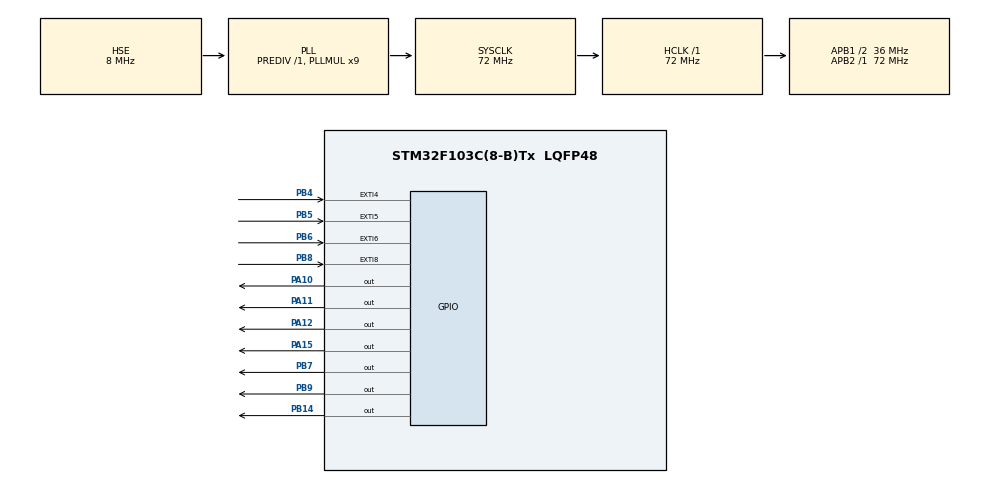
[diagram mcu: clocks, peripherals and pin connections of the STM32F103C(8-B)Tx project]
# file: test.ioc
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Mcu.Family=STM32F1
Mcu.Name=STM32F103C(8-B)Tx
Mcu.Package=LQFP48
NVIC.EXTI4_IRQn=true\:0\:0\:false\:false\:true\:true\:true\:true
NVIC.EXTI9_5_IRQn=true\:0\:0\:false\:false\:true\:true\:true\:true
NVIC.PriorityGroup=NVIC_PRIORITYGROUP_4
NVIC.TIM2_IRQn=true\:0\:0\:false\:false\:true\:true\:true\:true
NVIC.TIM3_IRQn=true\:0\:0\:false\:false\:true\:true\:true\:true
PA10.Signal=GPIO_Output
PA11.Signal=GPIO_Output
PA12.Signal=GPIO_Output
PA13.Mode=Serial_Wire
PA13.Signal=SYS_JTMS-SWDIO
PA14.Mode=Serial_Wire
PA14.Signal=SYS_JTCK-SWCLK
PA15.Signal=GPIO_Output
PB14.Signal=GPIO_Output
PB4.GPIO_PuPd=GPIO_PULLUP
PB4.Signal=GPXTI4
PB5.GPIO_PuPd=GPIO_PULLUP
PB5.Signal=GPXTI5
PB6.GPIO_PuPd=GPIO_PULLUP
PB6.Signal=GPXTI6
PB7.Signal=GPIO_Output
PB8.Signal=GPXTI8
PB9.Signal=GPIO_Output
PD0-OSC_IN.Mode=HSE-External-Oscillator
PD0-OSC_IN.Signal=RCC_OSC_IN
PD1-OSC_OUT.Mode=HSE-External-Oscillator
PD1-OSC_OUT.Signal=RCC_OSC_OUT
ProjectManager.HeapSize=0x200
ProjectManager.StackSize=0x400
ProjectManager.TargetToolchain=STM32CubeIDE
RCC.ADCPresc=RCC_ADCPCLK2_DIV6
RCC.AHBFreq_Value=72000000
RCC.APB1CLKDivider=RCC_HCLK_DIV2
RCC.APB1Freq_Value=36000000
RCC.APB1TimFreq_Value=72000000
RCC.APB2Freq_Value=72000000
RCC.APB2TimFreq_Value=72000000
RCC.HCLKFreq_Value=72000000
RCC.PLLMUL=RCC_PLL_MUL9
RCC.PLLSourceVirtual=RCC_PLLSOURCE_HSE
RCC.SYSCLKFreq_VALUE=72000000
RCC.SYSCLKSource=RCC_SYSCLKSOURCE_PLLCLK
RCC.USBFreq_Value=72000000
TIM1.AutoReloadPreload=TIM_AUTORELOAD_PRELOAD_ENABLE
TIM1.Prescaler=71
TIM2.Period=10000
TIM2.Prescaler=35999
TIM3.Period=10000
TIM3.Prescaler=7199
VP_TIM1_VS_ClockSourceINT.Mode=Internal
VP_TIM2_VS_ClockSourceINT.Mode=Internal
VP_TIM3_VS_ClockSourceINT.Mode=Internal
board=custom

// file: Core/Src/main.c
/* USER CODE BEGIN Header */
/**
  ******************************************************************************
  * @file           : main.c
  * @brief          : Main program body
  ******************************************************************************
  * @attention
  *
  * Copyright (c) 2025 STMicroelectronics.
  * All rights reserved.
  *
  * This software is licensed under terms that can be found in the LICENSE file
  * in the root directory of this software component.
  * If no LICENSE file comes with this software, it is provided AS-IS.
  *
  ******************************************************************************
  */
/* USER CODE END Header */
#include "main.h"

/* USER CODE BEGIN Includes */
#include "math.h"
#include <stdio.h>
/* USER CODE END Includes */

TIM_HandleTypeDef htim1;
TIM_HandleTypeDef htim2;
TIM_HandleTypeDef htim3;

void SystemClock_Config(void);
static void MX_GPIO_Init(void);
static void MX_TIM2_Init(void);
static void MX_TIM1_Init(void);
static void MX_TIM3_Init(void);

/* USER CODE BEGIN 0 */
volatile uint16_t seconds = 0;
volatile float T = 0.0f;
volatile float H = 0.0f;
uint32_t last_press;
uint32_t last = 0;

volatile uint8_t update_flag = 1;

/* USER CODE END 0 */

int main(void)
{

  /* MCU Configuration--------------------------------------------------------*/

  /* Reset of all peripherals, Initializes the Flash interface and the Systick. */
  HAL_Init();

  /* Configure the system clock */
  SystemClock_Config();

  /* Initialize all configured peripherals */
  MX_GPIO_Init();
  MX_TIM2_Init();
  MX_TIM1_Init();
  MX_TIM3_Init();
  /* USER CODE BEGIN 2 */

  HAL_NVIC_SetPriority(TIM3_IRQn, 0, 0);
  HAL_NVIC_EnableIRQ(TIM3_IRQn);
  HAL_TIM_Base_Start_IT(&htim3);

  LCD_init();
  LCD_Command(0x80);
  LCD_SendSTR("Temperature:");
  LCD_Command(0xC0);
  LCD_SendSTR("Humidity:");

  HAL_TIM_Base_Start(&htim1);
  DHT11_Read(&T, &H);
  HAL_TIM_Base_Stop(&htim1);
  Work(T, H);

  /* USER CODE END 2 */

  /* Infinite loop */
  /* USER CODE BEGIN WHILE */
  while (1)
  {
	  if (update_flag) {
		  update_flag = 0;
		  HAL_TIM_Base_Start(&htim1);
	      DHT11_Read(&T, &H);
	      HAL_TIM_Base_Stop(&htim1);
	      Work(T, H);
	  }

	  __enable_irq();
	  __WFI(); // Переход в сон, пока не сработает прерывание

    /* USER CODE END WHILE */

  }
}

void SystemClock_Config(void)
{
  RCC_OscInitTypeDef RCC_OscInitStruct = {0};
  RCC_ClkInitTypeDef RCC_ClkInitStruct = {0};

  /** Initializes the RCC Oscillators according to the specified parameters
  * in the RCC_OscInitTypeDef structure.
  */
  RCC_OscInitStruct.OscillatorType = RCC_OSCILLATORTYPE_HSE;
  RCC_OscInitStruct.HSEState = RCC_HSE_ON;
  RCC_OscInitStruct.HSEPredivValue = RCC_HSE_PREDIV_DIV1;
  RCC_OscInitStruct.HSIState = RCC_HSI_ON;
  RCC_OscInitStruct.PLL.PLLState = RCC_PLL_ON;
  RCC_OscInitStruct.PLL.PLLSource = RCC_PLLSOURCE_HSE;
  RCC_OscInitStruct.PLL.PLLMUL = RCC_PLL_MUL9;
  if (HAL_RCC_OscConfig(&RCC_OscInitStruct) != HAL_OK)
  {
    Error_Handler();
  }

  /** Initializes the CPU, AHB and APB buses clocks
  */
  RCC_ClkInitStruct.ClockType = RCC_CLOCKTYPE_HCLK|RCC_CLOCKTYPE_SYSCLK
                              |RCC_CLOCKTYPE_PCLK1|RCC_CLOCKTYPE_PCLK2;
  RCC_ClkInitStruct.SYSCLKSource = RCC_SYSCLKSOURCE_PLLCLK;
  RCC_ClkInitStruct.AHBCLKDivider = RCC_SYSCLK_DIV1;
  RCC_ClkInitStruct.APB1CLKDivider = RCC_HCLK_DIV2;
  RCC_ClkInitStruct.APB2CLKDivider = RCC_HCLK_DIV1;

  if (HAL_RCC_ClockConfig(&RCC_ClkInitStruct, FLASH_LATENCY_2) != HAL_OK)
  {
    Error_Handler();
  }
}

static void MX_TIM1_Init(void)
{

  TIM_ClockConfigTypeDef sClockSourceConfig = {0};
  TIM_MasterConfigTypeDef sMasterConfig = {0};

  htim1.Instance = TIM1;
  htim1.Init.Prescaler = 71;
  htim1.Init.CounterMode = TIM_COUNTERMODE_UP;
  htim1.Init.Period = 65535;
  htim1.Init.ClockDivision = TIM_CLOCKDIVISION_DIV1;
  htim1.Init.RepetitionCounter = 0;
  htim1.Init.AutoReloadPreload = TIM_AUTORELOAD_PRELOAD_ENABLE;
  if (HAL_TIM_Base_Init(&htim1) != HAL_OK)
  {
    Error_Handler();
  }
  sClockSourceConfig.ClockSource = TIM_CLOCKSOURCE_INTERNAL;
  if (HAL_TIM_ConfigClockSource(&htim1, &sClockSourceConfig) != HAL_OK)
  {
    Error_Handler();
  }
  sMasterConfig.MasterOutputTrigger = TIM_TRGO_RESET;
  sMasterConfig.MasterSlaveMode = TIM_MASTERSLAVEMODE_DISABLE;
  if (HAL_TIMEx_MasterConfigSynchronization(&htim1, &sMasterConfig) != HAL_OK)
  {
    Error_Handler();
  }

}

static void MX_TIM2_Init(void)
{

  TIM_ClockConfigTypeDef sClockSourceConfig = {0};
  TIM_MasterConfigTypeDef sMasterConfig = {0};

  htim2.Instance = TIM2;
  htim2.Init.Prescaler = 35999;
  htim2.Init.CounterMode = TIM_COUNTERMODE_UP;
  htim2.Init.Period = 10000;
  htim2.Init.ClockDivision = TIM_CLOCKDIVISION_DIV1;
  htim2.Init.AutoReloadPreload = TIM_AUTORELOAD_PRELOAD_DISABLE;
  if (HAL_TIM_Base_Init(&htim2) != HAL_OK)
  {
    Error_Handler();
  }
  sClockSourceConfig.ClockSource = TIM_CLOCKSOURCE_INTERNAL;
  if (HAL_TIM_ConfigClockSource(&htim2, &sClockSourceConfig) != HAL_OK)
  {
    Error_Handler();
  }
  sMasterConfig.MasterOutputTrigger = TIM_TRGO_RESET;
  sMasterConfig.MasterSlaveMode = TIM_MASTERSLAVEMODE_DISABLE;
  if (HAL_TIMEx_MasterConfigSynchronization(&htim2, &sMasterConfig) != HAL_OK)
  {
    Error_Handler();
  }

}

static void MX_TIM3_Init(void)
{

  TIM_ClockConfigTypeDef sClockSourceConfig = {0};
  TIM_MasterConfigTypeDef sMasterConfig = {0};

  htim3.Instance = TIM3;
  htim3.Init.Prescaler = 7199;
  htim3.Init.CounterMode = TIM_COUNTERMODE_UP;
  htim3.Init.Period = 10000;
  htim3.Init.ClockDivision = TIM_CLOCKDIVISION_DIV1;
  htim3.Init.AutoReloadPreload = TIM_AUTORELOAD_PRELOAD_DISABLE;
  if (HAL_TIM_Base_Init(&htim3) != HAL_OK)
  {
    Error_Handler();
  }
  sClockSourceConfig.ClockSource = TIM_CLOCKSOURCE_INTERNAL;
  if (HAL_TIM_ConfigClockSource(&htim3, &sClockSourceConfig) != HAL_OK)
  {
    Error_Handler();
  }
  sMasterConfig.MasterOutputTrigger = TIM_TRGO_RESET;
  sMasterConfig.MasterSlaveMode = TIM_MASTERSLAVEMODE_DISABLE;
  if (HAL_TIMEx_MasterConfigSynchronization(&htim3, &sMasterConfig) != HAL_OK)
  {
    Error_Handler();
  }

}

static void MX_GPIO_Init(void)
{
  GPIO_InitTypeDef GPIO_InitStruct = {0};

  /* GPIO Ports Clock Enable */
  __HAL_RCC_GPIOD_CLK_ENABLE();
  __HAL_RCC_GPIOB_CLK_ENABLE();
  __HAL_RCC_GPIOA_CLK_ENABLE();

  /*Configure GPIO pin Output Level */
  HAL_GPIO_WritePin(GPIOB, GPIO_PIN_14|GPIO_PIN_7|GPIO_PIN_9, GPIO_PIN_RESET);

  /*Configure GPIO pin Output Level */
  HAL_GPIO_WritePin(GPIOA, GPIO_PIN_10|GPIO_PIN_11|GPIO_PIN_12|GPIO_PIN_15, GPIO_PIN_RESET);

  /*Configure GPIO pins : PB14 PB7 PB9 */
  GPIO_InitStruct.Pin = GPIO_PIN_14|GPIO_PIN_7|GPIO_PIN_9;
  GPIO_InitStruct.Mode = GPIO_MODE_OUTPUT_PP;
  GPIO_InitStruct.Pull = GPIO_NOPULL;
  GPIO_InitStruct.Speed = GPIO_SPEED_FREQ_LOW;
  HAL_GPIO_Init(GPIOB, &GPIO_InitStruct);

  /*Configure GPIO pins : PA10 PA11 PA12 PA15 */
  GPIO_InitStruct.Pin = GPIO_PIN_10|GPIO_PIN_11|GPIO_PIN_12|GPIO_PIN_15;
  GPIO_InitStruct.Mode = GPIO_MODE_OUTPUT_PP;
  GPIO_InitStruct.Pull = GPIO_NOPULL;
  GPIO_InitStruct.Speed = GPIO_SPEED_FREQ_LOW;
  HAL_GPIO_Init(GPIOA, &GPIO_InitStruct);

  /*Configure GPIO pins : PB4 PB5 PB6 */
  GPIO_InitStruct.Pin = GPIO_PIN_4|GPIO_PIN_5|GPIO_PIN_6;
  GPIO_InitStruct.Mode = GPIO_MODE_IT_RISING;
  GPIO_InitStruct.Pull = GPIO_PULLUP;
  HAL_GPIO_Init(GPIOB, &GPIO_InitStruct);

  /*Configure GPIO pin : PB8 */
  GPIO_InitStruct.Pin = GPIO_PIN_8;
  GPIO_InitStruct.Mode = GPIO_MODE_IT_RISING;
  GPIO_InitStruct.Pull = GPIO_NOPULL;
  HAL_GPIO_Init(GPIOB, &GPIO_InitStruct);

  /* EXTI interrupt init*/
  HAL_NVIC_SetPriority(EXTI4_IRQn, 0, 0);
  HAL_NVIC_EnableIRQ(EXTI4_IRQn);

  HAL_NVIC_SetPriority(EXTI9_5_IRQn, 0, 0);
  HAL_NVIC_EnableIRQ(EXTI9_5_IRQn);

}

/* USER CODE BEGIN 4 */

void HAL_GPIO_EXTI_Callback(uint16_t GPIO_pin){
	uint32_t now = HAL_GetTick();
	if(now - last_press < 200) return;

	last_press = now;

	switch (state) {
		case BASE:
			if(GPIO_pin == GPIO_PIN_6){
				state = SELECT_SET;
				update_flag = 1;
			}
			break;

		case SELECT_SET:
			if(GPIO_pin == GPIO_PIN_5 || GPIO_pin == GPIO_PIN_4){
				pointer = !pointer;
				update_flag = 1;
			}
			else if(GPIO_pin == GPIO_PIN_6){
				state = (pointer == 1) ? SET_TEMP : SET_HUM;
				HAL_TIM_Base_Start_IT(&htim2);
				update_flag = 1;
			}
			break;

		case SET_TEMP:
			if(GPIO_pin == GPIO_PIN_5){
				set_T += 0.1f;
				__HAL_TIM_SET_COUNTER(&htim2, 0);
				update_flag = 1;
			}else if(GPIO_pin == GPIO_PIN_4){
				set_T -= 0.1f;
				__HAL_TIM_SET_COUNTER(&htim2, 0);
				update_flag = 1;
			}
			break;

		case SET_HUM:
			if(GPIO_pin == GPIO_PIN_5){
				set_H += 0.1f;
				__HAL_TIM_SET_COUNTER(&htim2, 0);
				update_flag = 1;
			}else if(GPIO_pin == GPIO_PIN_4){
				set_H -= 0.1f;
				__HAL_TIM_SET_COUNTER(&htim2, 0);
				update_flag = 1;
			}
			break;

		default:
			state = BASE;
			update_flag = 0;
			break;
		}
}

void HAL_TIM_PeriodElapsedCallback(TIM_HandleTypeDef *htim)
{
    if(htim->Instance == TIM2)
    {
    	HAL_TIM_Base_Stop_IT(htim);
        state = BASE;
        update_flag = 1;
//        LCD_Clear();
//        LCD_Command(0x80);
//        LCD_SendSTR("Temperature:");
//        LCD_Command(0xC0);
//        LCD_SendSTR("Humidity:");
    }

    if(htim->Instance == TIM3){
    	seconds++;
    	if (seconds >= 30){
    		seconds = 0;
    		update_flag = 1;
    	}
    }
}

/* USER CODE END 4 */

void Error_Handler(void)
{
  __disable_irq();
  while (1)
  {
  }
}
